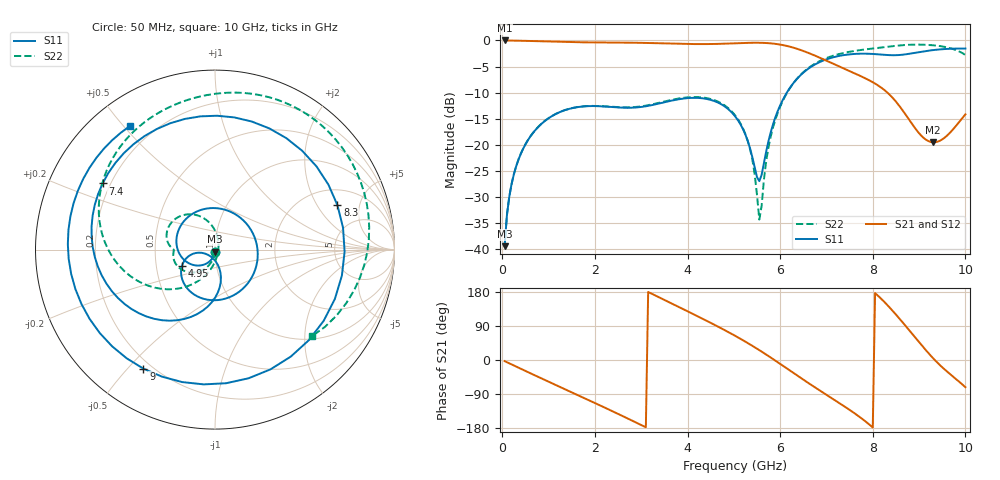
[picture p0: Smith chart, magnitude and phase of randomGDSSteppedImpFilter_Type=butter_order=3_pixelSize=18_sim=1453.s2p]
! freq	dB(S11)	phase(S11)	dB(S12)	phase(S12)
!  dB(S21)	phase(S21)	dB(S22)	phase(S22)
!S-par simulation data
#  GHz  S  DB  R 50
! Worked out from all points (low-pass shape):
!   200 points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, 50 MHz to 10 GHz, reference 50 ohm
!   highest |S21| = -0.01 dB at 50 MHz (marker M1); lowest = -19.5 dB at 9.3 GHz (marker M2)
!   |S21| within 3 dB of the highest: start of sweep to 6.778 GHz
!   lowest |S11| = -39.4 dB at 50 MHz (marker M3), VSWR 1.02, Z = 49.9 - j1.07 ohm
!   |S11| at or under -10 dB: start of sweep to 6.144 GHz
!   |S22| runs from -39.4 to -0.8 dB; largest |S21 - S12| = 0
!   S11 on the Smith chart (normalised r, x): 50 MHz: 1.00, -0.02; 4.95 GHz: 0.68, -0.13; 7.4 GHz: 0.17, +0.27; 8.3 GHz: 2.93, +3.05; 9 GHz: 0.17, -0.55; 10 GHz: 0.11, +0.52
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0.05  -39.36 -92.4  -0.01 -3.0  -0.01 -3.0  -39.35 -91.2
0.2  -27.50 -104.0  -0.03 -11.6  -0.03 -11.6  -27.48 -99.2
0.5  -19.88 -125.4  -0.08 -28.9  -0.08 -28.9  -19.86 -113.3
1.75  -12.63 141.9  -0.36 -99.4  -0.36 -99.4  -12.61 -161.9
2.65  -12.88 56.1  -0.42 -151.0  -0.42 -151.0  -12.80 -178.7
3.4  -12.04 -26.0  -0.54 164.6  -0.54 164.6  -11.90 174.8
4.25  -11.01 -102.6  -0.70 113.4  -0.70 113.4  -10.85 150.4
4.95  -13.74 -153.7  -0.58 69.1  -0.58 69.1  -13.55 116.0
5.05  -14.78 -159.9  -0.54 62.3  -0.54 62.3  -14.59 109.8
5.35  -20.65 -169.4  -0.46 41.1  -0.46 41.1  -20.79 85.8
5.55  -26.92 -122.0  -0.45 26.0  -0.45 26.0  -34.27 9.2
5.9  -14.63 -80.2  -0.66 -1.9  -0.66 -1.9  -15.07 -114.6
6.7  -4.87 -144.6  -2.71 -68.1  -2.71 -68.1  -4.73 -177.3
7.4  -2.77 149.5  -5.47 -123.4  -5.47 -123.4  -2.34 138.4
7.9  -2.55 89.1  -7.52 -167.7  -7.52 -167.7  -1.65 111.1
8.3  -2.79 19.9  -9.86 146.9  -9.86 146.9  -1.23 90.2
8.35  -2.81 9.6  -10.27 140.4  -10.27 140.4  -1.18 87.5
8.7  -2.67 -65.2  -14.07 91.4  -14.07 91.4  -0.88 67.6
9  -2.23 -121.1  -17.76 47.3  -17.76 47.3  -0.80 48.9
9.3  -1.85 -164.2  -19.49 5.0  -19.49 5.0  -0.93 28.2
9.7  -1.58 151.7  -17.35 -40.4  -17.35 -40.4  -1.55 -5.7
10  -1.56 124.6  -14.14 -71.7  -14.14 -71.7  -2.81 -41.9
